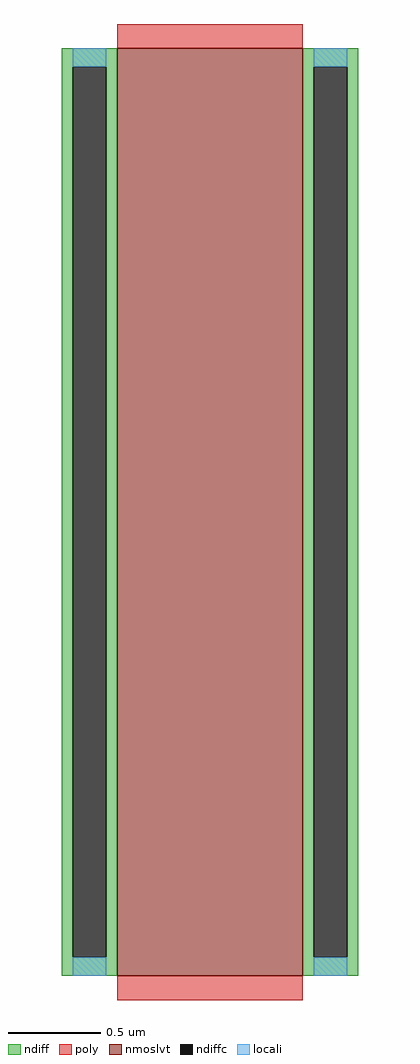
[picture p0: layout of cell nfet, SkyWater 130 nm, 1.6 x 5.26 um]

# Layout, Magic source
magic
tech sky130A
<< nmoslvt >>
rect 0 0 100 500
<< ndiff >>
rect -30 490 0 500
rect -30 10 -24 490
rect -6 10 0 490
rect -30 0 0 10
rect 100 490 130 500
rect 100 10 106 490
rect 124 10 130 490
rect 100 0 130 10
<< ndiffc >>
rect -24 10 -6 490
rect 106 10 124 490
<< poly >>
rect 0 500 100 513
rect 0 -13 100 0
<< locali >>
rect -24 490 -6 500
rect -24 0 -6 10
rect 106 490 124 500
rect 106 0 124 10
<< end >>
